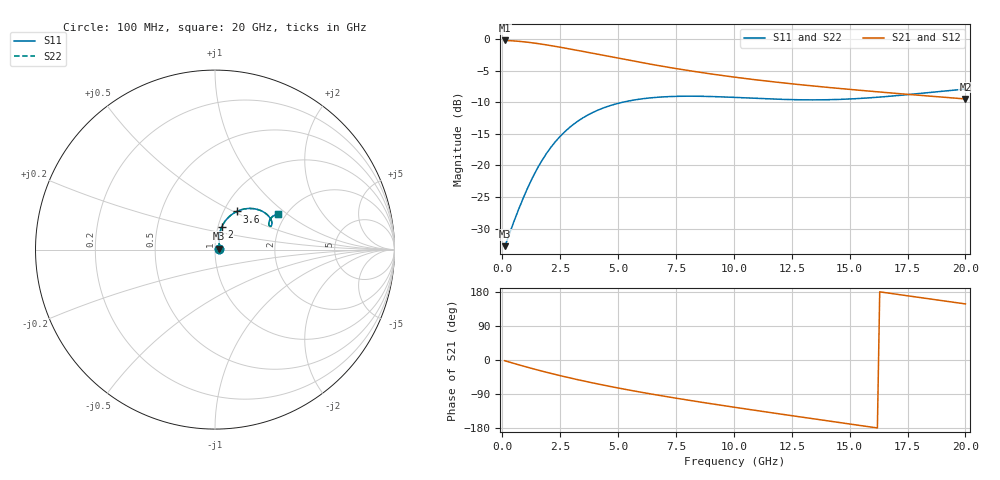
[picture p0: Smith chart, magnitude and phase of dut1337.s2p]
! Touchstone file exported from HFSS 2024.1.0
!  File:  C:/UserFiles/LocalFiles/RDL_TSV_Batchsim/temp_RDL_TSV_1337_1780390918.aedt
!  Generated:  05:16:14 PM Jun  2, 2026
!  Design:  RDL_TSV
!  Project:  temp_RDL_TSV_1337_1780390918
!  Setup:  Setup1
!  Solution:  Sweep
! Variables:
!  dtsv = 10.99um
!  hbump = 3um
!  htsv = 58.09um
!  ldown = 124.44um
!  lrdl = 699.65um
!  p = 40
!  p1 = 47.47um
!  rhole = 10um
!  subl = 3171.92um
!  t = 450um
!  tdown = 4um
!  trdl = 3.27um
!  viad = 10um
!  wdown = 26.59um
!  wrdl = 14.52um
!  xbump = 18um
# GHz S MA R 50.000000
! Terminal data exported
! Port[1] = TM1_1_T1
! Port[2] = TM1_4_T1
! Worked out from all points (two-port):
!   200 points, 100 MHz to 20 GHz, reference 50 ohm
!   highest |S21| = -0.20 dB at 100 MHz (marker M1); lowest = -9.5 dB at 20 GHz (marker M2)
!   |S21| within 3 dB of the highest: start of sweep to 5.275 GHz
!   lowest |S11| = -32.8 dB at 100 MHz (marker M3), VSWR 1.05, Z = 52.3 + j0.608 ohm
!   |S11| at or under -10 dB: start of sweep to 5.184 GHz
!   |S22| runs from -32.8 to -7.9 dB; largest |S21 - S12| = 8.6e-15
!   S11 on the Smith chart (normalised r, x): 100 MHz: 1.05, +0.01; 2 GHz: 1.04, +0.27; 3.6 GHz: 1.15, +0.52; 20 GHz: 1.81, +0.86
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0.1  0.02293 14.7  0.9775 -1.8  0.9775 -1.8  0.02293 14.7
! Gamma 0 0 0 0
! Port Impedance 50 0 50 0
0.6  0.04006 54.5  0.9663 -10.8  0.9663 -10.8  0.04006 54.6
1.1  0.06664 69.6  0.9462 -19.4  0.9462 -19.4  0.06667 69.7
1.5  0.09369 73.6  0.9255 -26.0  0.9255 -26.0  0.09376 73.7
2  0.1315 73.4  0.8958 -33.8  0.8958 -33.8  0.1316 73.4
2.3  0.1547 71.7  0.8769 -38.3  0.8769 -38.3  0.1549 71.7
2.7  0.185 68.6  0.8511 -44.2  0.8511 -44.2  0.1852 68.6
3.5  0.2393 61.1  0.7992 -55.2  0.7992 -55.2  0.2396 61.1
3.6  0.2453 60.1  0.7927 -56.5  0.7927 -56.5  0.2456 60.1
4.3  0.2823 53.5  0.7489 -65.4  0.7489 -65.4  0.2827 53.5
5  0.3103 47.4  0.7075 -73.9  0.7075 -73.9  0.3107 47.4
5.9  0.3345 40.6  0.6588 -84.0  0.6588 -84.0  0.3349 40.6
6.8  0.3479 35.0  0.6155 -93.6  0.6155 -93.6  0.3483 35.0
7.6  0.353 30.9  0.5815 -101.7  0.5815 -101.7  0.3534 31.0
8.4  0.3534 27.8  0.5514 -109.5  0.5514 -109.5  0.3538 27.8
10.1  0.3456 23.7  0.4987 -125.4  0.4987 -125.4  0.3459 23.7
11.7  0.3357 22.8  0.4598 -139.8  0.4598 -139.8  0.3359 22.8
13.4  0.3308 24.2  0.4265 -154.9  0.4265 -154.9  0.3309 24.3
15  0.3361 26.6  0.4004 -168.9  0.4004 -168.9  0.3363 26.7
16.7  0.3528 28.9  0.3762 176.3  0.3762 176.3  0.3532 29.0
18.4  0.3774 30.0  0.3547 161.7  0.3547 161.7  0.378 30.1
20  0.4029 29.7  0.3364 148.0  0.3364 148.0  0.4037 29.8
